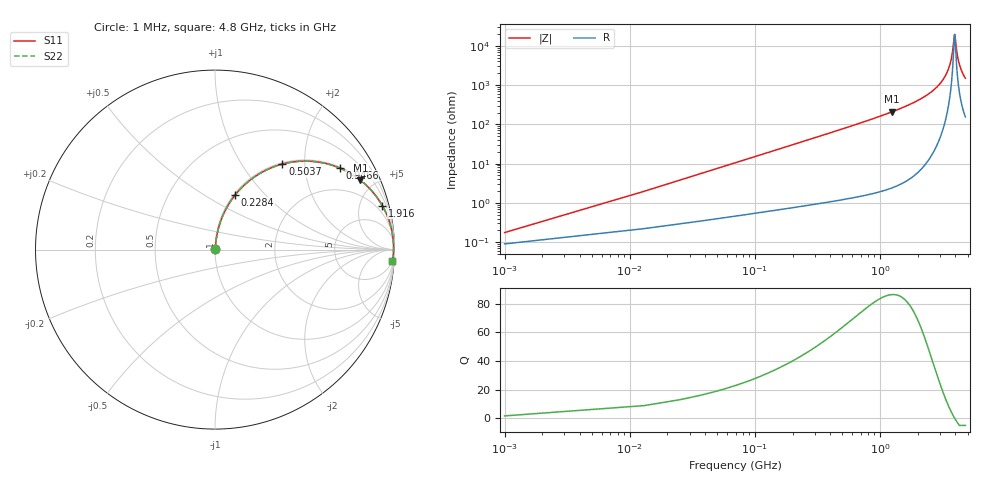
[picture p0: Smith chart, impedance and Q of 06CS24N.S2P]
! Coilcraft 0603CS-24N Chip Inductor
! 21 May 2002
# MHZ S MA R 50
!Freq  MagS11  AngS11  MagS21  AngS21  MagS12  AngS12  MagS22  AngS22
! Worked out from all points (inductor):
!   402 points, 1 MHz to 4.8 GHz, reference 50 ohm
!   read as one part in series: L = 24 nH near 24.94 MHz
!   highest Q = 86.4 at 1.246 GHz (marker M1), where L = 26.7 nH
!   self-resonance near 3.939 GHz
!   S11 on the Smith chart (normalised r, x): 1 MHz: 1.00, +0.00; 228.4 MHz: 1.02, +0.69; 503.7 MHz: 1.02, +1.54; 946.6 MHz: 1.04, +3.03; 1.916 GHz: 1.11, +7.57; 4.8 GHz: 4, -30
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1  0.001756 59.0  0.9991 -0.1  0.9991 -0.1  0.001756 59.0
36.91  0.05549 83.3  0.995 -3.2  0.995 -3.2  0.05549 83.3
60.85  0.09111 82.1  0.9916 -5.2  0.9916 -5.2  0.09111 82.1
120.7  0.1783 77.9  0.9782 -10.3  0.9782 -10.3  0.1783 77.9
228.43  0.3244 69.7  0.9384 -18.9  0.9384 -18.9  0.3244 69.7
503.74  0.6067 51.8  0.7855 -37.3  0.7855 -37.3  0.6067 51.8
802.99  0.7793 38.1  0.6168 -51.2  0.6168 -51.2  0.7793 38.1
946.63  0.83 33.2  0.5478 -56.1  0.5478 -56.1  0.83 33.2
1245.88  0.8978 25.5  0.4301 -63.9  0.4301 -63.9  0.8978 25.5
1604.98  0.9419 18.9  0.3246 -70.4  0.3246 -70.4  0.9419 18.9
1916.2  0.9635 14.7  0.2546 -74.5  0.2546 -74.5  0.9635 14.7
2406.97  0.9821 9.8  0.1696 -79.1  0.1696 -79.1  0.9821 9.8
3208.96  0.9936 4.0  0.06927 -82.7  0.06927 -82.7  0.9936 4.0
3472.3  0.9947 2.4  0.04269 -81.7  0.04269 -81.7  0.9947 2.4
3663.82  0.9951 1.4  0.02486 -77.8  0.02486 -77.8  0.9951 1.4
3783.52  0.9951 0.8  0.01448 -69.7  0.01448 -69.7  0.9951 0.8
3927.16  0.9949 0.1  0.005225 -12.8  0.005225 -12.8  0.9949 0.1
3963.07  0.9948 -0.1  0.005489 19.9  0.005489 19.9  0.9948 -0.1
4010.95  0.9947 -0.3  0.007892 48.0  0.007892 48.0  0.9947 -0.3
4130.65  0.9944 -0.9  0.01666 69.9  0.01666 69.9  0.9944 -0.9
4286.26  0.9938 -1.6  0.0287 76.8  0.0287 76.8  0.9938 -1.6
4800  0.9909 -3.8  0.06649 80.2  0.06649 80.2  0.9909 -3.8
